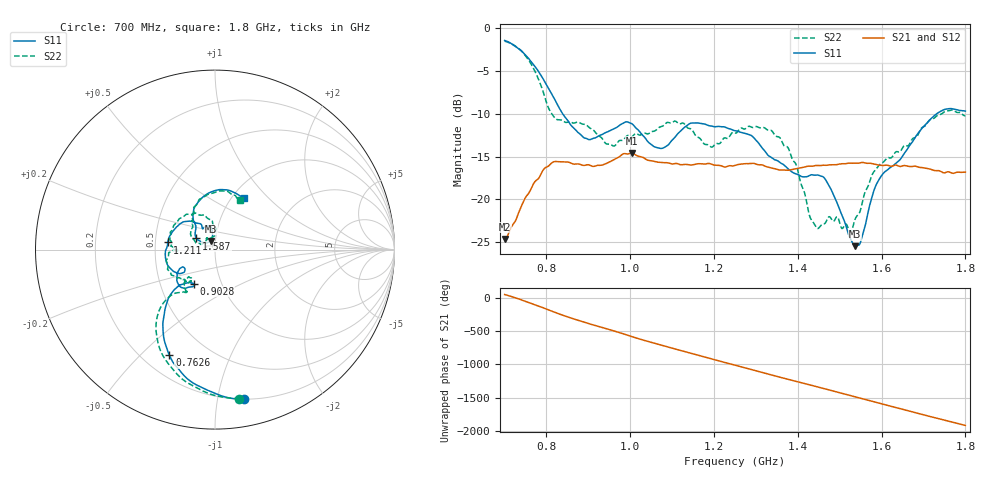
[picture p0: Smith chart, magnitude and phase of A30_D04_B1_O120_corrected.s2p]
! Created with skrf 1.9.0 (http://scikit-rf.org).
# Hz S RI R 50.0
!freq ReS11 ImS11 ReS21 ImS21 ReS12 ImS12 ReS22 ImS22
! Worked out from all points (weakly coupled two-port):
!   1601 points, 700 MHz to 1.8 GHz, reference 50 ohm
!   highest |S21| = -14.59 dB at 1.004 GHz (marker M1); lowest = -24.7 dB at 700 MHz (marker M2)
!   lowest |S11| = -25.5 dB at 1.537 GHz (marker M3), VSWR 1.11, Z = 47.5 + j4.57 ohm
!   |S11| at or under -10 dB: 838.6 MHz to 1.731 GHz (892.7 MHz wide, 69.5 % of centre)
!   |S22| runs from -23.9 to -1.5 dB; largest |S21 - S12| = 0.0033
!   S11 on the Smith chart (normalised r, x): 700 MHz: 0.20, -1.19; 762.6 MHz: 0.31, -0.61; 902.8 MHz: 0.74, -0.29; 1.211 GHz: 0.58, +0.05; 1.587 GHz: 0.81, +0.10; 1.8 GHz: 1.14, +0.73
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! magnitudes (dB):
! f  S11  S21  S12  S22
! 700 MHz  -1.4  -24.7  -24.4  -1.5
! 762.6 MHz  -3.9  -18.8  -18.8  -4.1
! 818.2 MHz  -8.2  -15.6  -15.7  -10.4
! 883.6 MHz  -12.5  -16.0  -15.9  -11.2
! 902.8 MHz  -13.0  -16.0  -16.0  -11.6
! 958.5 MHz  -11.8  -15.4  -15.4  -13.7
! 1.004 GHz  -11.2  -14.6  -14.7  -12.7
! 1.067 GHz  -14.0  -15.7  -15.6  -11.7
! 1.143 GHz  -11.1  -16.0  -16.0  -11.7
! 1.211 GHz  -11.5  -16.0  -16.0  -13.5
! 1.25 GHz  -12.0  -16.0  -16.0  -12.2
! 1.357 GHz  -15.7  -16.6  -16.5  -12.8
! 1.396 GHz  -17.0  -16.4  -16.4  -15.9
! 1.434 GHz  -17.1  -16.1  -16.1  -22.5
! 1.469 GHz  -18.0  -16.0  -16.0  -22.4
! 1.525 GHz  -24.6  -15.8  -15.8  -23.9
! 1.537 GHz  -25.5  -15.8  -15.8  -22.3
! 1.551 GHz  -24.8  -15.7  -15.7  -21.0
! 1.587 GHz  -18.3  -15.9  -15.9  -16.5
! 1.617 GHz  -16.4  -16.1  -16.0  -15.1
! 1.731 GHz  -10.0  -16.7  -16.6  -10.3
! 1.8 GHz  -9.7  -16.8  -16.8  -10.2
